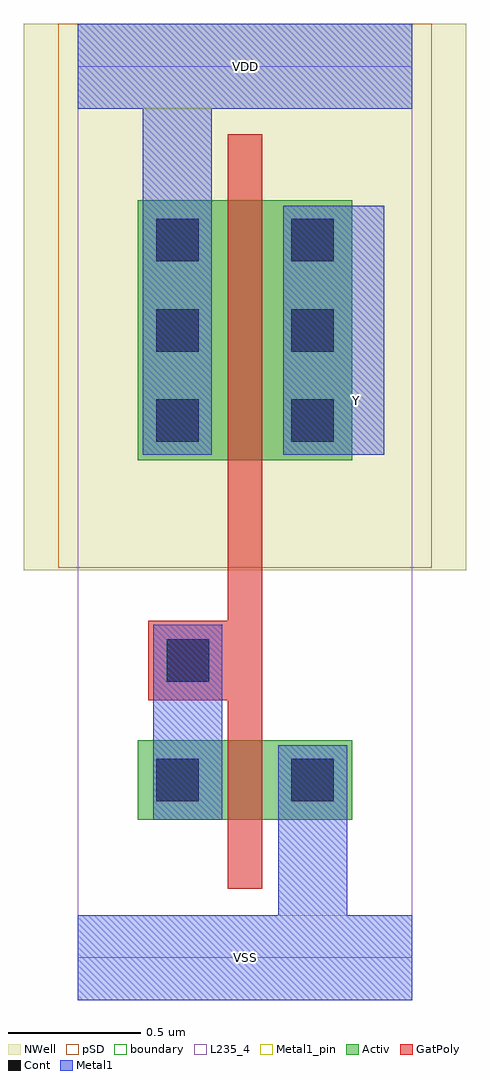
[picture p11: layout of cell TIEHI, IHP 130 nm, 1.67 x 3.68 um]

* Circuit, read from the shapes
.subckt TIEHI VDD VSS Y
XM1 VSS n1 n1 VSUBS sg13_lv_nmos w=0.3u l=0.13u
XM2 Y n1 VDD n2 sg13_lv_pmos w=0.98u l=0.13u
.ends

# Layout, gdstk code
import gdstk
lib = gdstk.Library(unit=1e-6, precision=1e-09)
def R(c, l, rs):  # rectangles x0, y0, x1, y1
    for r in rs: c.add(gdstk.rectangle(r[:2], r[2:], *l))
def A(c, l, x, y, w, h, nx, ny, dx, dy):  # array of equal rectangles
    R(c, l, [(x+i*dx, y+j*dy, x+i*dx+w, y+j*dy+h) for i in range(nx) for j in range(ny)])
def P(c, l, *ps):  # polygons
    for p in ps: c.add(gdstk.Polygon(p, *l))
Activ = (1, 0)
GatPoly = (5, 0)
Cont = (6, 0)
Metal1 = (8, 0)
Metal1_pin = (8, 2)
pSD = (14, 0)
NWell = (31, 0)
boundary = (189, 4)
L235_4 = (235, 4)

tiehi = lib.new_cell('TIEHI')
R(tiehi, Activ, [(0.225,0.52,1.035,0.82), (0.225,1.875,1.035,2.855)])
P(tiehi, GatPoly, [(0.565,0.26),(0.565,0.97),(0.265,0.97),(0.265,1.27),(0.565,1.27),(0.565,3.105),(0.695,3.105),(0.695,0.26)])
A(tiehi, Cont, 0.295, 1.945, 0.16, 0.16, 1, 3, 0, 0.34)
A(tiehi, Cont, 0.805, 1.945, 0.16, 0.16, 1, 3, 0, 0.34)
R(tiehi, Cont, [(0.295,0.59,0.455,0.75), (0.805,0.59,0.965,0.75), (0.335,1.04,0.495,1.2)])
R(tiehi, Metal1, [(0.285,0.52,0.545,1.255), (0.775,1.895,1.155,2.835)])
P(tiehi, Metal1, [(0,-0.16),(0,0.16),(0.755,0.16),(0.755,0.8),(1.015,0.8),(1.015,0.16),(1.26,0.16),(1.26,-0.16)],
  [(0.245,1.895),(0.245,3.2),(0,3.2),(0,3.52),(1.26,3.52),(1.26,3.2),(0.505,3.2),(0.505,1.895)])
R(tiehi, Metal1_pin, [(0,-0.16,1.26,0.16), (0.775,1.895,1.155,2.835), (0,3.2,1.26,3.52)])
R(tiehi, pSD, [(-0.075,1.47,1.335,3.52)])
R(tiehi, NWell, [(-0.205,1.46,1.465,3.52)])
R(tiehi, boundary, [(0,0,1.26,3.36)])
R(tiehi, L235_4, [(0,0,1.26,3.36)])
tiehi.add(gdstk.Label('Y', (1.05,2.1), layer=8, texttype=25))
tiehi.add(gdstk.Label('VSS', (0.63,0), layer=8, texttype=25))
tiehi.add(gdstk.Label('VDD', (0.63,3.36), layer=8, texttype=25))

lib.write_gds('TIEHI.gds')
